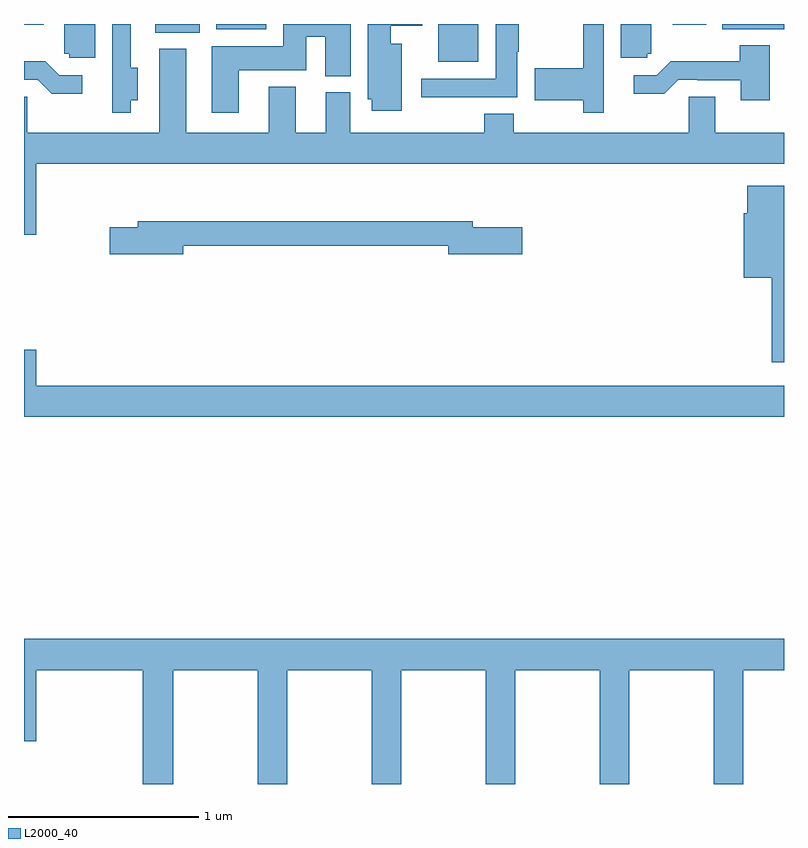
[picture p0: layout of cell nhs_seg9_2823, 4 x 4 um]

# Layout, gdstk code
import gdstk
lib = gdstk.Library(unit=1e-6, precision=1e-09)
def R(c, l, rs):  # rectangles x0, y0, x1, y1
    for r in rs: c.add(gdstk.rectangle(r[:2], r[2:], *l))
def P(c, l, *ps):  # polygons
    for p in ps: c.add(gdstk.Polygon(p, *l))
L2000_40 = (2000, 40)

nhs_seg9_2823 = lib.new_cell('nhs_seg9_2823')
R(nhs_seg9_2823, L2000_40, [(275.18,1186.301,275.392,1186.5), (273.692,1186.454,273.925,1186.5), (274.013,1186.472,274.276,1186.5), (276.676,1186.472,277,1186.5), (273,1186.496,273.103,1186.5), (276.414,1186.496,276.591,1186.5)])
P(nhs_seg9_2823, L2000_40, [(276.052,1186.254),(276.051,1186.254),(276.051,1186.5),(275.943,1186.5),(275.943,1186.266),(275.688,1186.266),(275.688,1186.1),(275.943,1186.1),(275.943,1186.032),(276.052,1186.032)],
  [(274.129,1186.256),(274.486,1186.256),(274.486,1186.433),(274.586,1186.433),(274.586,1186.225),(274.72,1186.225),(274.72,1186.5),(274.364,1186.5),(274.364,1186.384),(273.989,1186.384),(273.989,1186.032),(274.129,1186.032)],
  [(274.987,1186.396),(274.93,1186.396),(274.93,1186.49),(275.095,1186.49),(275.095,1186.5),(274.808,1186.5),(274.808,1186.104),(274.829,1186.104),(274.829,1186.044),(274.987,1186.044)],
  [(275.596,1186.354),(275.604,1186.354),(275.604,1186.5),(275.483,1186.5),(275.483,1186.212),(275.091,1186.212),(275.091,1186.115),(275.596,1186.115)],
  [(273.376,1186.5),(273.212,1186.5),(273.212,1186.344),(273.237,1186.344),(273.237,1186.323),(273.376,1186.323)],
  [(276.279,1186.344),(276.301,1186.344),(276.301,1186.5),(276.14,1186.5),(276.14,1186.323),(276.279,1186.323)],
  [(273.562,1186.1),(273.598,1186.1),(273.598,1186.271),(273.562,1186.271),(273.562,1186.5),(273.465,1186.5),(273.465,1186.254),(273.464,1186.254),(273.464,1186.032),(273.562,1186.032)],
  [(276.926,1186.387),(276.766,1186.387),(276.766,1186.303),(276.403,1186.303),(276.33,1186.23),(276.21,1186.23),(276.21,1186.133),(276.371,1186.133),(276.444,1186.206),(276.544,1186.206),(276.544,1186.203),(276.773,1186.203),(276.773,1186.098),(276.926,1186.098)],
  [(273.064,1185.764),(277,1185.764),(277,1185.928),(276.637,1185.928),(276.637,1186.118),(276.498,1186.118),(276.498,1185.928),(275.577,1185.928),(275.577,1186.027),(275.422,1186.027),(275.422,1185.928),(274.717,1185.928),(274.717,1186.14),(274.589,1186.14),(274.589,1185.928),(274.429,1185.928),(274.429,1186.171),(274.289,1186.171),(274.289,1185.928),(273.853,1185.928),(273.853,1186.369),(273.713,1186.369),(273.713,1185.928),(273.018,1185.928),(273.018,1186.118),(273,1186.118),(273,1185.39),(273.064,1185.39)],
  [(273.307,1186.23),(273.186,1186.23),(273.113,1186.303),(273,1186.303),(273,1186.206),(273.072,1186.206),(273.145,1186.133),(273.307,1186.133)],
  [(277,1185.649),(276.806,1185.649),(276.806,1185.504),(276.788,1185.504),(276.788,1185.164),(276.936,1185.164),(276.936,1184.721),(277,1184.721)],
  [(273.838,1185.334),(275.234,1185.334),(275.234,1185.287),(275.623,1185.287),(275.623,1185.429),(275.362,1185.429),(275.362,1185.463),(273.599,1185.463),(273.599,1185.429),(273.45,1185.429),(273.45,1185.287),(273.838,1185.287)],
  [(277,1184.596),(273.064,1184.596),(273.064,1184.785),(273,1184.785),(273,1184.432),(277,1184.432)],
  [(273.786,1183.1),(274.231,1183.1),(274.231,1182.5),(274.386,1182.5),(274.386,1183.1),(274.831,1183.1),(274.831,1182.5),(274.986,1182.5),(274.986,1183.1),(275.431,1183.1),(275.431,1182.5),(275.586,1182.5),(275.586,1183.1),(276.031,1183.1),(276.031,1182.5),(276.186,1182.5),(276.186,1183.1),(276.631,1183.1),(276.631,1182.5),(276.786,1182.5),(276.786,1183.1),(277,1183.1),(277,1183.264),(273,1183.264),(273,1182.726),(273.064,1182.726),(273.064,1183.1),(273.626,1183.1),(273.626,1182.5),(273.786,1182.5)])

lib.write_gds('nhs_seg9_2823.gds')
